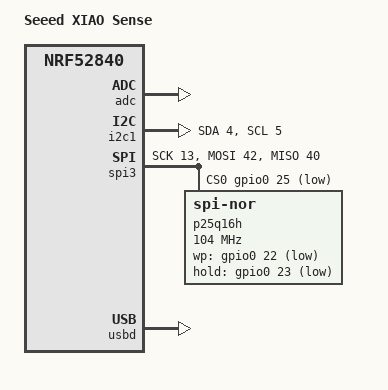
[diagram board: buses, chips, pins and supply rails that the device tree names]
/*
 * Copyright (c) 2022 Marcin Niestroj
 * Copyright (c) 2022 Peter Johanson
 *
 * SPDX-License-Identifier: Apache-2.0
 */

/dts-v1/;
#include <nordic/nrf52840_qiaa.dtsi>

/ {
	model = "Seeed XIAO Sense";
	compatible = "seeed,xiao-sense";

	chosen {
		zephyr,sram = &sram0;
		zephyr,flash = &flash0;
		zephyr,code-partition = &code_partition;
	};

  aliases {
		adcctrl = &adc;
	};
};

&flash0 {
	partitions {
		compatible = "fixed-partitions";
		#address-cells = <1>;
		#size-cells = <1>;

		sd_partition: partition@0 {
			label = "softdevice";
			reg = <0x00000000 0x00027000>;
		};

		code_partition: partition@27000 {
			label = "code_partition";
			reg = <0x00027000 0x000c5000>;
		};

    datapt_partition: partition@EC000 {
			label = "datapt";
			reg = <0xEC000 0x8000>;
		};

		boot_partition: partition@f4000 {
			label = "adafruit_boot";
			reg = <0x000f4000 0x0000c000>;
		};
	};
};

&adc {
	status = "okay";
};

&uart0 {
	status = "disabled";
};

&i2c0 {
	compatible = "nordic,nrf-twim";
	status = "disabled";
};

&i2c1 {
	compatible = "nordic,nrf-twim";
	status = "okay";
	sda-pin = <4>;
	scl-pin = <5>;
};

&spi3 {
	status = "okay";
	sck-pin = <13>; //P0.21
	mosi-pin = <42>; //P0.20
	miso-pin = <40>; //P0.24
	cs-gpios = <&gpio0 25 GPIO_ACTIVE_LOW>;
	p25q16h_spi: p25q16h@0 {
    label = "p25q16h";
		compatible = "jedec,spi-nor";
		reg = <0>;
		wp-gpios = <&gpio0 22 GPIO_ACTIVE_LOW>;
		hold-gpios = <&gpio0 23 GPIO_ACTIVE_LOW>;
		spi-max-frequency = <104000000>;
		jedec-id = [85 60 15];
		sfdp-bfp = [
			e5 20 f1 ff  ff ff ff 00  44 eb 08 6b  08 3b 80 bb
			ee ff ff ff  ff ff 00 ff  ff ff 00 ff  0c 20 0f 52
			10 d8 08 81
		];
		size = <16777216>;
		has-dpd;
		t-enter-dpd = <3000>;
		t-exit-dpd = <8000>;
	};
};

&gpio0 {
	status = "okay";
};
&gpio1 {
	status = "okay";
};
&usbd {
	compatible = "nordic,nrf-usbd";
	status = "okay";
};
&pwm0 {
	status = "disabled";
};
&pwm1 {
	status = "disabled";
};
&pwm2 {
	status = "disabled";
};
&pwm3 {
	status = "disabled";
};
&rtc1 {
	status = "disabled";
};
&timer3 {
    status = "disabled";
};
&timer4 {
    status = "disabled";
};

/* USB CDC Device */
zephyr_udc0: &usbd {
  compatible = "nordic,nrf-usbd";
	status = "okay";
	cdc_acm_uart0 {
		compatible = "zephyr,cdc-acm-uart";
		label = "CDC_ACM_0";
	};
};
